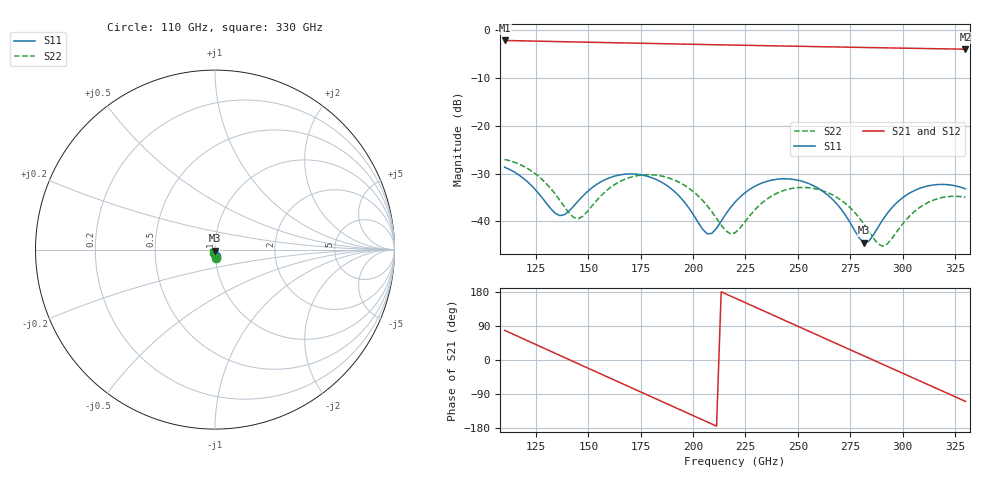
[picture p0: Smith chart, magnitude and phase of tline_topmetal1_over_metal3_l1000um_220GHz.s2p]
#  GHZ S DB R 50
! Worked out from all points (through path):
!   101 points, 110 GHz to 330 GHz, reference 50 ohm
!   highest |S21| = -2.09 dB at 110 GHz (marker M1); lowest = -3.9 dB at 330 GHz (marker M2)
!   group delay of S21, straight-line fit = 6.91 ps
!   lowest |S11| = -44.5 dB at 281.6 GHz (marker M3), VSWR 1.01, Z = 50 - j0.599 ohm
!   |S11| at or under -10 dB: start of sweep to end of sweep
!   |S22| runs from -45.2 to -27.0 dB; largest |S21 - S12| = 1.1e-13
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110  -28.64 -79.0  -2.09 78.3  -2.09 78.3  -27.01 -84.5
123.2  -32.64 -96.8  -2.21 45.2  -2.21 45.2  -29.54 -109.5
136.4  -38.77 -69.6  -2.33 12.1  -2.33 12.1  -35.57 -119.0
143  -36.77 -43.7  -2.39 -4.4  -2.39 -4.4  -39.17 -98.1
147.4  -34.64 -39.5  -2.43 -15.4  -2.43 -15.4  -38.89 -74.5
167.2  -30.10 -65.0  -2.60 -64.9  -2.60 -64.9  -31.19 -72.0
176  -30.30 -81.6  -2.68 -86.9  -2.68 -86.9  -30.24 -88.0
184.8  -31.74 -97.6  -2.76 -108.8  -2.76 -108.8  -30.46 -105.1
193.6  -34.79 -109.7  -2.84 -130.8  -2.84 -130.8  -31.84 -121.4
206.8  -42.60 -81.3  -2.95 -163.6  -2.95 -163.6  -36.73 -137.2
215.6  -38.46 -41.0  -3.02 174.5  -3.02 174.5  -41.96 -119.7
220  -35.96 -40.4  -3.06 163.6  -3.06 163.6  -42.38 -94.3
228.8  -32.79 -51.2  -3.13 141.7  -3.13 141.7  -37.89 -72.9
239.8  -31.17 -71.4  -3.22 114.4  -3.22 114.4  -34.13 -83.6
257.4  -32.49 -105.7  -3.36 70.7  -3.36 70.7  -33.06 -115.5
268.4  -36.21 -122.0  -3.45 43.4  -3.45 43.4  -34.89 -135.1
281.6  -44.46 -90.5  -3.56 10.7  -3.56 10.7  -40.57 -145.9
290.4  -39.72 -49.4  -3.62 -11.1  -3.62 -11.1  -45.17 -112.3
294.8  -37.17 -49.5  -3.66 -22.0  -3.66 -22.0  -43.64 -88.1
310.2  -32.76 -72.6  -3.77 -60.1  -3.77 -60.1  -36.49 -86.3
321.2  -32.28 -94.0  -3.85 -87.3  -3.85 -87.3  -34.82 -104.9
330  -33.16 -110.8  -3.92 -109.0  -3.92 -109.0  -34.94 -121.2
